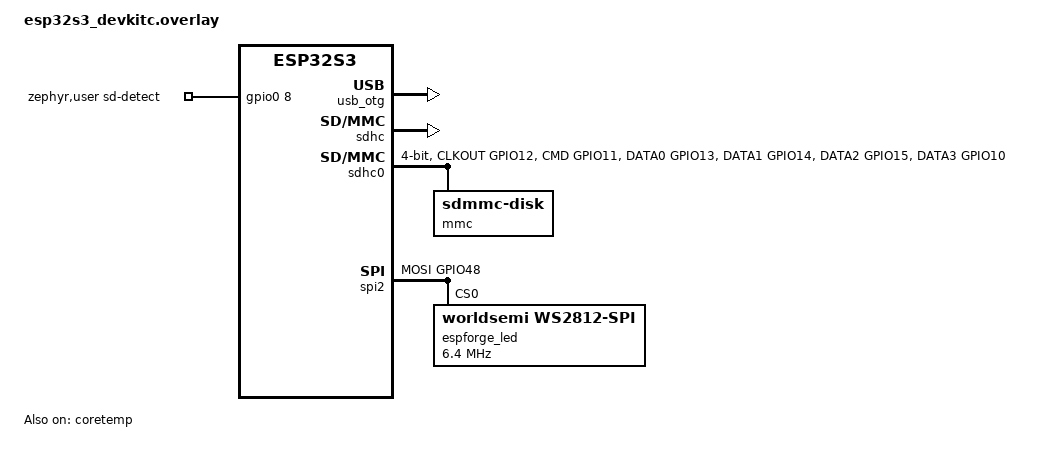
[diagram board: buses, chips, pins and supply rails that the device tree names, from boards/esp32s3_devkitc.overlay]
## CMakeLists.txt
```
cmake_minimum_required(VERSION 3.20.0)
find_package(Zephyr REQUIRED HINTS $ENV{ZEPHYR_BASE})
project(espforge)
target_compile_definitions(app PRIVATE EF_STORAGE_SPI=$<BOOL:${CONFIG_SPI_SDHC}>)
option(EF_ENABLE_STORAGE_BENCHMARK "Include temporary-file verification and throughput measurement" OFF)
target_compile_definitions(app PRIVATE EF_ENABLE_STORAGE_BENCHMARK=$<BOOL:${EF_ENABLE_STORAGE_BENCHMARK}>)
if(EF_ENABLE_STORAGE_BENCHMARK)
  target_sources(app PRIVATE src/app/storage/benchmark.c)
endif()
target_sources(app PRIVATE
  src/main.c
  src/config/board.c
  src/platform/boot_config.c
  src/platform/boot_flash.c
  src/platform/system_clock.c
  src/app/telemetry.c
  src/app/control/control.c
  src/app/storage/storage.c
  src/platform/storage.c
  src/platform/led.c
  src/app/usb/hid_reports.c
  src/app/usb/usb_hid.c
  src/app/wireless/sha256.c
  src/app/wireless/wireless_auth.c
  src/app/wireless/wireless_stage.c
  src/app/wireless/bluetooth/ble.c
  src/app/wireless/wifi/wifi.c)
target_include_directories(app PRIVATE src)
# The pinned ESP32-S3 HAL leaves the PHY library's weak sensor-power hooks linked. They power the die-temperature
# sensor off during Wi-Fi modem sleep, and the next telemetry read then spins with interrupts locked. The HAL
# override reference-counts that power instead.
if(CONFIG_ESP32_TEMP)
  target_sources(app PRIVATE ${ZEPHYR_HAL_ESPRESSIF_MODULE_DIR}/components/esp_phy/src/phy_override.c)
endif()
if(DEFINED ENV{ESPFORGE_VERSION} AND NOT "$ENV{ESPFORGE_VERSION}" STREQUAL "")
  if(NOT "$ENV{ESPFORGE_VERSION}" MATCHES "^(0|[1-9][0-9]*)\\.(0|[1-9][0-9]*)\\.(0|[1-9][0-9]*)$")
    message(FATAL_ERROR "ESPFORGE_VERSION must be MAJOR.MINOR.PATCH with no leading zeros")
  endif()
  target_compile_definitions(app PRIVATE "ESPFORGE_VERSION=\"$ENV{ESPFORGE_VERSION}\"")
endif()
```

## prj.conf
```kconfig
# Diagnostics on the DevKitC UART connector; dashboard management is USB HID or BLE.
CONFIG_SERIAL=y
CONFIG_CONSOLE=y
CONFIG_UART_CONSOLE=y
CONFIG_PRINTK=y
CONFIG_LOG=y
CONFIG_LOG_MODE_MINIMAL=y

# Native diagnostic shells. TCP is unauthenticated plaintext for trusted networks only.
CONFIG_SHELL=y
CONFIG_SHELL_BACKEND_SERIAL=y
CONFIG_SHELL_PROMPT_UART="ESPForge> "
CONFIG_SHELL_BACKEND_TELNET=y
CONFIG_SHELL_PROMPT_TELNET="ESPForge> "
CONFIG_SHELL_TELNET_PORT=2323
CONFIG_SHELL_TELNET_SUPPORT_COMMAND=n
CONFIG_SHELL_TELNET_INIT_LOG_LEVEL_NONE=y
CONFIG_SHELL_LOG_BACKEND=n
CONFIG_SHELL_HISTORY=n
CONFIG_DEVICE_SHELL_INIT_CMD=n
CONFIG_DATE_SHELL=n
CONFIG_DEVMEM_SHELL=n
# The kernel shell includes unguarded reboot and thread-control commands.
CONFIG_KERNEL_SHELL=n
CONFIG_FILE_SYSTEM_SHELL=n
CONFIG_FLASH_SHELL=n
CONFIG_NET_SHELL=n
CONFIG_NET_L2_WIFI_SHELL=n
CONFIG_BT_SHELL=n

CONFIG_MAIN_STACK_SIZE=6144
CONFIG_SYSTEM_WORKQUEUE_STACK_SIZE=4096
CONFIG_HEAP_MEM_POOL_SIZE=73728
CONFIG_FLASH=y
CONFIG_FLASH_MAP=y

# N16R8 module: 16 MB quad flash (DIO at 80 MHz) and 8 MB octal PSRAM, checked at boot.
CONFIG_ESPTOOLPY_FLASHSIZE_16MB=y
CONFIG_ESP_SPIRAM=y
CONFIG_SPIRAM_MODE_OCT=y
CONFIG_ESP_SPIRAM_MEMTEST=y
CONFIG_CLOCK_CONTROL=y
CONFIG_REBOOT=y
CONFIG_HWINFO=y
CONFIG_ENTROPY_GENERATOR=y
CONFIG_SENSOR=y
CONFIG_THREAD_RUNTIME_STATS=y
CONFIG_SCHED_THREAD_USAGE_ALL=y

# Native USB OTG: vendor HID and removable-media MSC, without CDC.
CONFIG_USB_DEVICE_STACK_NEXT=y
CONFIG_USBD_HID_SUPPORT=y
CONFIG_USBD_MSC_CLASS=y
CONFIG_USBD_MSC_STACK_SIZE=4096
CONFIG_USBD_THREAD_STACK_SIZE=4096
CONFIG_USBD_LOG_LEVEL_WRN=y
CONFIG_UDC_DRIVER_LOG_LEVEL_WRN=y

CONFIG_NETWORKING=y
CONFIG_WIFI=y
CONFIG_ESP32_SW_COEXIST_ENABLE=y
CONFIG_NET_IPV4=y
CONFIG_NET_IPV6=n
CONFIG_NET_TCP=y
CONFIG_NET_DHCPV4=y
CONFIG_NET_MGMT=y
CONFIG_NET_MGMT_EVENT=y
CONFIG_NET_MGMT_EVENT_INFO=y
CONFIG_NET_MGMT_EVENT_QUEUE_SIZE=16
CONFIG_NET_MGMT_EVENT_QUEUE_TIMEOUT=5000
CONFIG_NET_PKT_RX_COUNT=10
CONFIG_NET_PKT_TX_COUNT=10
CONFIG_NET_BUF_RX_COUNT=20
CONFIG_NET_BUF_TX_COUNT=20
CONFIG_NET_RX_STACK_SIZE=2048
CONFIG_NET_TX_STACK_SIZE=2048

CONFIG_BT=y
CONFIG_BT_PERIPHERAL=y
CONFIG_BT_MAX_CONN=1
CONFIG_BT_DEVICE_NAME="ESPForge"
CONFIG_BT_DEVICE_NAME_DYNAMIC=y
CONFIG_BT_DEVICE_NAME_MAX=25
CONFIG_BT_DEVICE_APPEARANCE=0
CONFIG_BT_GATT_SERVICE_CHANGED=y
CONFIG_BT_GATT_CACHING=y
CONFIG_BT_RX_STACK_SIZE=4096

CONFIG_GPIO=y
CONFIG_LED_STRIP=y
CONFIG_DISK_ACCESS=y
CONFIG_DISK_DRIVER_SDMMC=y
CONFIG_SDHC=y
CONFIG_FILE_SYSTEM=y
CONFIG_FAT_FILESYSTEM_ELM=y
CONFIG_FS_FATFS_MOUNT_MKFS=n
CONFIG_FS_FATFS_MKFS=n
```

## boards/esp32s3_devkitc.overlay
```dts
#include <zephyr/dt-bindings/gpio/gpio.h>
#include <zephyr/dt-bindings/pinctrl/esp32s3-pinctrl.h>
#include <zephyr/dt-bindings/led/led.h>

/ {
	aliases {
		espforge-sd = &sdhc0;
	};
	zephyr,user {
		sd-detect-gpios = <&gpio0 8 (GPIO_ACTIVE_HIGH | GPIO_PULL_DOWN)>;
	};
};

/*
 * ESP32-S3-DevKitC-1 N16R8 (ESP32-S3-WROOM-1-N16R8): 16 MB quad flash and 8 MB octal PSRAM.
 * The upstream board DTS describes the N8 module with the 4 MB partition table, so replace both.
 */
&flash0 {
	reg = <0x0 DT_SIZE_M(16)>;
	/delete-node/ partitions;
};

#include <espressif/partitions_0x0_amp_16M.dtsi>

&psram0 {
	size = <DT_SIZE_M(8)>;
};

/* Native USB OTG on the DevKitC USB connector (GPIO19 D-, GPIO20 D+). */
&usb_otg {
	status = "okay";
	espforge_hid: hid_dev_0 {
		compatible = "zephyr,hid-device";
		label = "ESPForge";
		protocol-code = "none";
		in-report-size = <64>;
		in-polling-period-us = <4000>;
	};
};

&coretemp {
	status = "okay";
};

&pinctrl {
	espforge_led_default: espforge_led_default {
		mosi {
			pinmux = <SPIM2_MOSI_GPIO48>;
			bias-pull-down;
		};
	};
	espforge_sd_default: espforge_sd_default {
		clock {
			pinmux = <SDHC0_CLKOUT_GPIO12>;
		};
		command_data {
			pinmux = <SDHC0_CMD_GPIO11>, <SDHC0_DATA0_GPIO13>,
				 <SDHC0_DATA1_GPIO14>, <SDHC0_DATA2_GPIO15>, <SDHC0_DATA3_GPIO10>;
			bias-pull-up;
		};
	};
};

&sdhc {
	status = "okay";
};

espforge_sd: &sdhc0 {
	status = "okay";
	pinctrl-0 = <&espforge_sd_default>;
	pinctrl-names = "default";
	bus-width = <4>;
	max-bus-freq = <25000000>;
	mmc {
		compatible = "zephyr,sdmmc-disk";
		disk-name = "SD";
		status = "okay";
	};
};

&spi2 {
	status = "okay";
	line-idle-low;
	pinctrl-0 = <&espforge_led_default>;
	pinctrl-names = "default";
	espforge_led: led-strip@0 {
		compatible = "worldsemi,ws2812-spi";
		reg = <0>;
		spi-max-frequency = <6400000>;
		spi-zero-frame = <0xc0>;
		spi-one-frame = <0xf0>;
		chain-length = <1>;
		color-mapping = <LED_COLOR_ID_GREEN LED_COLOR_ID_RED LED_COLOR_ID_BLUE>;
		reset-delay = <350>;
	};
};

/* SPI3's default pins overlap the module's internal flash/PSRAM signals (octal PSRAM uses GPIO33-37). */
&spi3 {
	status = "disabled";
};
```

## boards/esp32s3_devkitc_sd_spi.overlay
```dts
#include "esp32s3_devkitc.overlay"

/ {
	aliases {
		espforge-sd = &espforge_sd_spi;
	};
};

&sdhc {
	status = "disabled";
};

&sdhc0 {
	status = "disabled";
	mmc {
		status = "disabled";
	};
};

&pinctrl {
	espforge_sd_spi_default: espforge_sd_spi_default {
		clock {
			pinmux = <SPIM3_SCLK_GPIO12>;
		};
		data {
			pinmux = <SPIM3_MOSI_GPIO11>, <SPIM3_MISO_GPIO13>;
			bias-pull-up;
		};
	};
};

/* Override all default SPI3 pins to avoid the module's internal flash/PSRAM signals. */
&spi3 {
	status = "okay";
	pinctrl-0 = <&espforge_sd_spi_default>;
	pinctrl-names = "default";
	cs-gpios = <&gpio0 10 GPIO_ACTIVE_LOW>;
	espforge_sd_spi: sdhc@0 {
		compatible = "zephyr,sdhc-spi-slot";
		reg = <0>;
		spi-max-frequency = <25000000>;
		mmc {
			compatible = "zephyr,sdmmc-disk";
			disk-name = "SD";
			status = "okay";
		};
	};
};
```

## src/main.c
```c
#include "app/espforge.h"
#include "platform/boot_config.h"
#include "app/control/control.h"
#include "platform/ef_platform.h"

#include <zephyr/kernel.h>
#include <zephyr/sys/printk.h>

#define POLL_PERIOD_MS 20

int main(void)
{
	uint8_t radios;
	int err;

	ef_board_init();
	ef_lock();
	ef_boot_config_load();
	ef_control_init();
	radios = ef_boot_config_boot_radios();
	ef_unlock();
	printk("ESPForge %s (%s)\n", ESPFORGE_VERSION, ef_board_serial());

	err = system_clock_apply(ef_sysclk_profile_mhz(ef_boot_config_boot_sysclk()));
	if (err) {
		printk("CPU clock change failed: %d\n", err);
	}
	ef_telemetry_init();
	ef_platform_led_init();
	ef_storage_init();
	ef_wifi_init((radios & EF_WIRELESS_WIFI) != 0);
	ef_ble_init((radios & EF_WIRELESS_BLE) != 0);
	if (ef_usb_init() != 0) {
		printk("USB HID unavailable\n");
	}

	while (true) {
		ef_lock();
		ef_control_tick(k_uptime_get());
		ef_unlock();
		ef_wifi_poll();
		ef_telemetry_poll();
		ef_usb_poll();
		k_sleep(K_MSEC(POLL_PERIOD_MS));
	}
	return 0;
}
```

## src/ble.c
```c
/*
 * Bluetooth LE peripheral: report mirrors, session unlock, command proofs and the 9-byte control characteristic
 * (docs/reference/bluetooth.md with the docs/reference/espforge-profile.md adaptations).
 */
#include "espforge.h"
#include "boot_config.h"
#include "control.h"
#include "wireless_auth.h"

#include <stdio.h>
#include <string.h>
#include <zephyr/bluetooth/bluetooth.h>
#include <zephyr/bluetooth/conn.h>
#include <zephyr/bluetooth/gatt.h>
#include <zephyr/bluetooth/uuid.h>
#include <zephyr/kernel.h>
#include <zephyr/logging/log.h>
#include <zephyr/random/random.h>

LOG_MODULE_REGISTER(ef_ble, LOG_LEVEL_INF);

#define FAST_INTERVAL 96   /* 60 ms */
#define SLOW_INTERVAL 800  /* 500 ms */
#define FAST_PERIOD_MS 30000

#define CHR_IDENTITY 0x0001u
#define CHR_CONFIG 0x0002u
#define CHR_TELEMETRY 0x0003u
#define CHR_STORAGE 0x000Au
#define CHR_BENCHMARK 0x000Bu
#define CHR_WIRELESS 0x000Cu
#define CHR_CONTROL 0x0014u
#define CHR_NONCE 0x0100u
#define CHR_PROOF 0x0101u

#define EF_UUID(suffix) BT_UUID_128_ENCODE(0xef5c0000u | (suffix), 0x7c91, 0x4d70, 0x8b32, 0x6e856443f502)
#define EF_UUID_DECLARE(suffix) BT_UUID_DECLARE_128(EF_UUID(suffix))

#define NAME_SIZE (sizeof("ESPForge-") - 1 + 2 * EF_UID_SIZE)
#define SNAPSHOT_SIZE EF_WIRELESS_SIZE

static atomic_t state = ATOMIC_INIT(EF_BLE_OFF);
static bool failed;
static bool slow;
static struct bt_conn *current;
static char name[NAME_SIZE + 1];
static char firmware_revision[] = ESPFORGE_VERSION;

/* Session state for the single connection; guarded by ef_lock(). */
static ef_auth_session_t session;
static const struct bt_gatt_attr *snapshot_attr;
static uint8_t snapshot[SNAPSHOT_SIZE];
static uint16_t snapshot_length;
static uint8_t sequence;

static const struct bt_data advertising[] = {
	BT_DATA_BYTES(BT_DATA_FLAGS, BT_LE_AD_GENERAL | BT_LE_AD_NO_BREDR),
	BT_DATA_BYTES(BT_DATA_UUID128_ALL, EF_UUID(0x0000u)),
};

static struct bt_data scan_response[] = {
	BT_DATA(BT_DATA_NAME_COMPLETE, name, NAME_SIZE),
};

static void slow_down(struct k_work *work);
K_WORK_DELAYABLE_DEFINE(slow_work, slow_down);

static int advertise(bool fast)
{
	uint16_t interval = fast ? FAST_INTERVAL : SLOW_INTERVAL;
	struct bt_le_adv_param param = BT_LE_ADV_PARAM_INIT(BT_LE_ADV_OPT_CONN, interval, interval, NULL);
	int err = bt_le_adv_start(&param, advertising, ARRAY_SIZE(advertising), scan_response,
				  ARRAY_SIZE(scan_response));

	if (err == 0) {
		atomic_set(&state, EF_BLE_ADVERTISING);
		slow = !fast;
		if (fast) {
			(void)k_work_reschedule(&slow_work, K_MSEC(FAST_PERIOD_MS));
		}
	} else {
		LOG_ERR("Advertising failed: %d", err);
	}
	return err;
}

static void slow_down(struct k_work *work)
{
	ARG_UNUSED(work);
	if (atomic_get(&state) == EF_BLE_ADVERTISING && !slow && bt_le_adv_stop() == 0) {
		(void)advertise(false);
	}
}

static void connected(struct bt_conn *conn, uint8_t err)
{
	if (err != 0) {
		return;
	}
	(void)k_work_cancel_delayable(&slow_work);
	ef_lock();
	current = bt_conn_ref(conn);
	ef_auth_session_reset(&session);
	snapshot_attr = NULL;
	ef_unlock();
	atomic_set(&state, EF_BLE_CONNECTED);
	LOG_INF("Central connected");
}

static void disconnected(struct bt_conn *conn, uint8_t reason)
{
	ef_lock();
	if (current == conn) {
		bt_conn_unref(current);
		current = NULL;
	}
	ef_auth_session_reset(&session);
	snapshot_attr = NULL;
	ef_unlock();
	atomic_set(&state, EF_BLE_OFF);
	LOG_INF("Central disconnected (0x%02x)", reason);
}

/* The connection object is free again, so connectable advertising can restart. */
static void recycled(void)
{
	if (atomic_get(&state) == EF_BLE_OFF && !failed && name[0] != '\0') {
		(void)advertise(true);
	}
}

BT_CONN_CB_DEFINE(conn_callbacks) = {
	.connected = connected,
	.disconnected = disconnected,
	.recycled = recycled,
};

static uint16_t build(uint16_t chr, uint8_t *out)
{
	switch (chr) {
	case CHR_IDENTITY:
		ef_identity_report(out);
		return EF_IDENTITY_SIZE;
	case CHR_CONFIG:
		ef_config_report(out);
		return EF_CONFIG_SIZE;
	case CHR_TELEMETRY:
		ef_telemetry_report(++sequence, out);
		return EF_TELEMETRY_SIZE;
	case CHR_STORAGE:
		ef_storage_report(++sequence, out);
		return EF_STORAGE_SIZE;
	case CHR_BENCHMARK:
		/* No benchmark: the value is empty, but the read still advances the BLE sequence. */
		++sequence;
		return 0;
	case CHR_WIRELESS:
		ef_wireless_report(out);
		return EF_WIRELESS_SIZE;
	case CHR_CONTROL:
		ef_control_ble_get(out);
		return EF_BLE_CONTROL_SIZE;
	case CHR_NONCE:
		if (sys_csrand_get(out, EF_AUTH_NONCE_SIZE) != 0) {
			return 0;
		}
		ef_auth_set_nonce(&session, out);
		return EF_AUTH_NONCE_SIZE;
	default:
		return 0;
	}
}

static bool open_while_locked(uint16_t chr)
{
	return chr == CHR_IDENTITY || chr == CHR_NONCE;
}

static ssize_t read_report(struct bt_conn *conn, const struct bt_gatt_attr *attr, void *buf, uint16_t len,
			   uint16_t offset)
{
	uint16_t chr = (uint16_t)POINTER_TO_UINT(attr->user_data);
	ssize_t result;

	ARG_UNUSED(conn);
	ef_lock();
	if (!session.unlocked && !open_while_locked(chr)) {
		result = BT_GATT_ERR(EF_ATT_ERR_REJECTED);
	} else if (offset == 0) {
		snapshot_length = build(chr, snapshot);
		snapshot_attr = attr;
		result = MIN(len, snapshot_length);
		memcpy(buf, snapshot, result);
	} else if (snapshot_attr != attr || offset > snapshot_length) {
		result = BT_GATT_ERR(EF_ATT_ERR_INVALID_OFFSET);
	} else {
		result = MIN(len, snapshot_length - offset);
		memcpy(buf, snapshot + offset, result);
	}
	ef_unlock();
	return result;
}

static ssize_t write_proof(struct bt_conn *conn, const struct bt_gatt_attr *attr, const void *buf, uint16_t len,
			   uint16_t offset, uint8_t flags)
{
	uint8_t err;

	ARG_UNUSED(conn);
	ARG_UNUSED(attr);
	if (offset != 0 || (flags & (BT_GATT_WRITE_FLAG_PREPARE | BT_GATT_WRITE_FLAG_CMD))) {
		return BT_GATT_ERR(BT_ATT_ERR_NOT_SUPPORTED);
	}
	ef_lock();
	err = ef_auth_write_proof(&session, buf, len, k_uptime_get());
	ef_unlock();
	return err ? BT_GATT_ERR(err) : len;
}

static ssize_t write_control(struct bt_conn *conn, const struct bt_gatt_attr *attr, const void *buf, uint16_t len,
			     uint16_t offset, uint8_t flags)
{
	const uint8_t *request = buf;
	int64_t now = k_uptime_get();
	ssize_t result = len;

	ARG_UNUSED(conn);
	ARG_UNUSED(attr);
	if (offset != 0 || (flags & (BT_GATT_WRITE_FLAG_PREPARE | BT_GATT_WRITE_FLAG_CMD))) {
		return BT_GATT_ERR(BT_ATT_ERR_NOT_SUPPORTED);
	}
	ef_lock();
	if (!session.unlocked) {
		result = BT_GATT_ERR(EF_ATT_ERR_REJECTED);
	} else if (!ef_control_ble_envelope(request, len)) {
		result = BT_GATT_ERR(EF_ATT_ERR_ENVELOPE);
	} else {
		uint8_t err = request[2] == EF_OP_LED ? 0 : ef_auth_authorize(&session, request, len, now);

		if (err) {
			result = BT_GATT_ERR(err);
		} else {
			ef_control_ble_execute(request, now);
		}
	}
	ef_unlock();
	return result;
}

static ssize_t read_text(struct bt_conn *conn, const struct bt_gatt_attr *attr, void *buf, uint16_t len,
			 uint16_t offset)
{
	const char *text = attr->user_data;

	return bt_gatt_attr_read(conn, attr, buf, len, offset, text, strlen(text));
}

#define REPORT_CHR(suffix)                                                                                    \
	BT_GATT_CHARACTERISTIC(EF_UUID_DECLARE(suffix), BT_GATT_CHRC_READ, BT_GATT_PERM_READ, read_report, NULL,     \
			       UINT_TO_POINTER(suffix))

BT_GATT_SERVICE_DEFINE(espforge_service,
	BT_GATT_PRIMARY_SERVICE(EF_UUID_DECLARE(0x0000u)),
	REPORT_CHR(CHR_IDENTITY),
	REPORT_CHR(CHR_CONFIG),
	REPORT_CHR(CHR_TELEMETRY),
	REPORT_CHR(CHR_STORAGE),
	REPORT_CHR(CHR_BENCHMARK),
	REPORT_CHR(CHR_WIRELESS),
	BT_GATT_CHARACTERISTIC(EF_UUID_DECLARE(CHR_CONTROL), BT_GATT_CHRC_READ | BT_GATT_CHRC_WRITE,
			       BT_GATT_PERM_READ | BT_GATT_PERM_WRITE, read_report, write_control,
			       UINT_TO_POINTER(CHR_CONTROL)),
	REPORT_CHR(CHR_NONCE),
	BT_GATT_CHARACTERISTIC(EF_UUID_DECLARE(CHR_PROOF), BT_GATT_CHRC_WRITE, BT_GATT_PERM_WRITE, NULL, write_proof,
			       NULL));

BT_GATT_SERVICE_DEFINE(device_information,
	BT_GATT_PRIMARY_SERVICE(BT_UUID_DIS),
	BT_GATT_CHARACTERISTIC(BT_UUID_DIS_MANUFACTURER_NAME, BT_GATT_CHRC_READ, BT_GATT_PERM_READ, read_text, NULL,
			       "ESPForge"),
	BT_GATT_CHARACTERISTIC(BT_UUID_DIS_FIRMWARE_REVISION, BT_GATT_CHRC_READ, BT_GATT_PERM_READ, read_text, NULL,
			       firmware_revision));

void ef_ble_init(bool enabled)
{
	uint8_t key[EF_BLE_KEY_SIZE];
	int err;

	if (!enabled) {
		return;
	}
	ef_lock();
	if (!ef_boot_config_ble_key_configured()) {
		ef_unlock();
		LOG_WRN("Bluetooth is enabled but no Control key is saved; Bluetooth stays off");
		return;
	}
	ef_boot_config_ble_key(key);
	ef_auth_init(key, ef_board_uid());
	memset(key, 0, sizeof(key));
	ef_auth_session_reset(&session);
	ef_unlock();

	err = bt_enable(NULL);
	if (err == 0) {
		(void)snprintf(name, sizeof(name), "ESPForge-%s", ef_board_serial());
		err = bt_set_name(name);
	}
	if (err == 0) {
		err = advertise(true);
	}
	if (err != 0) {
		failed = true;
		LOG_ERR("Bluetooth start failed: %d", err);
	}
}

uint8_t ef_ble_state(void)
{
	return (uint8_t)atomic_get(&state);
}

bool ef_ble_failed(void)
{
	return failed;
}
```

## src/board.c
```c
#include "espforge.h"
#include "boot_config.h"
#include "ef_platform.h"

#include <errno.h>
#include <stdlib.h>
#include <string.h>
#include <zephyr/drivers/hwinfo.h>
#include <zephyr/kernel.h>
#include <zephyr/linker/linker-defs.h>
#include <zephyr/sys/reboot.h>

#define RAM_TOTAL_BYTES (512u * 1024u)

K_MUTEX_DEFINE(app_lock);

static uint8_t uid[EF_UID_SIZE];
static char serial[2 * EF_UID_SIZE + 1];
static uint8_t reset_cause;

void ef_lock(void)
{
	(void)k_mutex_lock(&app_lock, K_FOREVER);
}

void ef_unlock(void)
{
	(void)k_mutex_unlock(&app_lock);
}

void ef_board_init(void)
{
	uint32_t cause = 0;
	ssize_t length = hwinfo_get_device_id(uid, 6);

	if (length < 0) {
		memset(uid, 0, sizeof(uid));
	}
	ef_uid_hex(uid, serial);
	if (hwinfo_get_reset_cause(&cause) == 0) {
		reset_cause = ef_reset_cause(cause);
		(void)hwinfo_clear_reset_cause();
	}
}

const uint8_t *ef_board_uid(void)
{
	return uid;
}

const char *ef_board_serial(void)
{
	return serial;
}

static void parse_version(uint8_t out[3])
{
	const char *text = ESPFORGE_VERSION;

	for (int i = 0; i < 3; ++i) {
		char *end;
		unsigned long part = strtoul(text, &end, 10);

		out[i] = part > 255 ? 255 : (uint8_t)part;
		text = *end == '.' ? end + 1 : end;
	}
}

void ef_identity_report(uint8_t out[EF_IDENTITY_SIZE])
{
	ef_identity_t identity = {
		.ram_total_bytes = RAM_TOTAL_BYTES,
		.ram_reserved_bytes = (uint32_t)((uintptr_t)_image_ram_end - (uintptr_t)_image_ram_start),
	};

	memcpy(identity.uid, uid, sizeof(uid));
	parse_version(identity.firmware);
	ef_report_identity(&identity, out);
}

void ef_config_report(uint8_t out[EF_CONFIG_SIZE])
{
	ef_config_t config = {.reset_cause = reset_cause};

	ef_lock();
	config.stored_clock_mhz = ef_sysclk_profile_mhz(ef_boot_config_sysclk());
	config.stored_radios = ef_boot_config_radios();
	ef_unlock();
	ef_report_config(&config, out);
}

static void reboot_handler(struct k_work *work)
{
	ARG_UNUSED(work);
	sys_reboot(SYS_REBOOT_COLD);
}

K_WORK_DELAYABLE_DEFINE(reboot_work, reboot_handler);

int ef_platform_schedule_reboot(void)
{
	return k_work_reschedule(&reboot_work, K_MSEC(EF_REBOOT_DELAY_MS)) < 0 ? -EIO : 0;
}
```

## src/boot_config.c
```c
#include "boot_config.h"
#include "boot_flash.h"

#include <errno.h>
#include <string.h>

#define RECORD_MAGIC 0x46434645u /* "EFCF" little-endian */
#define RECORD_VERSION 1u
#define CRC_OFFSET 144u
#define SERVICE_BITS (EF_WIRELESS_WIFI | EF_WIRELESS_BLE)
#define KEY_PRESENT 1u

struct boot_config {
	uint8_t sysclk;
	uint8_t disabled;
	uint8_t auth;
	uint8_t ssid_length;
	uint8_t ssid[32];
	char password[EF_WIFI_PASSWORD_SIZE];
	uint8_t key[EF_BLE_KEY_SIZE];
	uint8_t flags;
};

/* Zero is the default for every field: all radios allowed, build clock, no credentials. */
static struct boot_config staged;
static struct boot_config saved;
static struct boot_config boot;
static ef_boot_config_source_t source;

uint32_t ef_boot_config_crc32(const uint8_t *data, size_t size)
{
	uint32_t crc = 0xFFFFFFFFu;

	for (size_t i = 0; i < size; ++i) {
		crc ^= data[i];
		for (int bit = 0; bit < 8; ++bit) {
			crc = (crc >> 1) ^ (0xEDB88320u & (0u - (crc & 1u)));
		}
	}
	return ~crc;
}

static void put_u16(uint8_t *out, uint16_t value)
{
	out[0] = (uint8_t)value;
	out[1] = (uint8_t)(value >> 8);
}

static void put_u32(uint8_t *out, uint32_t value)
{
	put_u16(out, (uint16_t)value);
	put_u16(out + 2, (uint16_t)(value >> 16));
}

static uint32_t get_u32(const uint8_t *in)
{
	return (uint32_t)in[0] | (uint32_t)in[1] << 8 | (uint32_t)in[2] << 16 | (uint32_t)in[3] << 24;
}

static bool zero(const uint8_t *data, size_t size)
{
	while (size--) {
		if (*data++) {
			return false;
		}
	}
	return true;
}

static bool password_valid(const char *password, size_t capacity)
{
	size_t length = 0;

	while (length < capacity && password[length]) {
		++length;
	}
	return length < capacity && (length == 0 || (length >= 8 && length <= 63));
}

static void encode(const struct boot_config *config, uint8_t record[EF_BOOT_CONFIG_RECORD_SIZE])
{
	memset(record, 0, EF_BOOT_CONFIG_RECORD_SIZE);
	put_u32(record, RECORD_MAGIC);
	put_u16(record + 4, RECORD_VERSION);
	put_u16(record + 6, EF_BOOT_CONFIG_RECORD_SIZE);
	record[8] = config->sysclk;
	record[10] = config->disabled;
	record[11] = config->auth;
	record[12] = config->ssid_length;
	memcpy(record + 13, config->ssid, sizeof(config->ssid));
	memcpy(record + 45, config->password, sizeof(config->password));
	memcpy(record + 109, config->key, sizeof(config->key));
	record[141] = config->flags;
	put_u32(record + CRC_OFFSET, ef_boot_config_crc32(record, CRC_OFFSET));
}

static bool decode(const uint8_t record[EF_BOOT_CONFIG_RECORD_SIZE], struct boot_config *config)
{
	const char *password = (const char *)record + 45;
	size_t password_length;

	if (get_u32(record) != RECORD_MAGIC || record[4] != RECORD_VERSION || record[5] != 0 ||
	    record[6] != EF_BOOT_CONFIG_RECORD_SIZE || record[7] != 0 ||
	    get_u32(record + CRC_OFFSET) != ef_boot_config_crc32(record, CRC_OFFSET)) {
		return false;
	}
	if (record[8] > EF_SYSCLK_240MHZ || record[9] != 0 || (record[10] & ~SERVICE_BITS) ||
	    record[11] > EF_WIFI_AUTH_SAE || record[12] > 32 || !zero(record + 13 + record[12], 32 - record[12]) ||
	    !password_valid(password, EF_WIFI_PASSWORD_SIZE) || (record[141] & ~KEY_PRESENT) ||
	    (!(record[141] & KEY_PRESENT) && !zero(record + 109, EF_BLE_KEY_SIZE)) || record[142] || record[143]) {
		return false;
	}
	password_length = strlen(password);
	if (!zero(record + 45 + password_length, EF_WIFI_PASSWORD_SIZE - password_length)) {
		return false;
	}
	memset(config, 0, sizeof(*config));
	config->sysclk = record[8];
	config->disabled = record[10];
	config->auth = record[11];
	config->ssid_length = record[12];
	memcpy(config->ssid, record + 13, sizeof(config->ssid));
	memcpy(config->password, password, sizeof(config->password));
	memcpy(config->key, record + 109, sizeof(config->key));
	config->flags = record[141];
	return true;
}

void ef_boot_config_load(void)
{
	uint8_t record[EF_BOOT_CONFIG_RECORD_SIZE];
	struct boot_config loaded = {0};

	if (boot_flash_read(record, sizeof(record)) != 0) {
		source = EF_BOOT_CONFIG_READ_ERROR;
	} else if (decode(record, &loaded)) {
		source = EF_BOOT_CONFIG_SAVED;
	} else {
		memset(&loaded, 0, sizeof(loaded));
		source = EF_BOOT_CONFIG_DEFAULTS;
	}
	saved = loaded;
	staged = loaded;
	boot = loaded;
	memset(record, 0, sizeof(record));
	memset(&loaded, 0, sizeof(loaded));
}

ef_boot_config_source_t ef_boot_config_source(void)
{
	return source;
}

ef_sysclk_profile_t ef_boot_config_sysclk(void)
{
	return (ef_sysclk_profile_t)staged.sysclk;
}

bool ef_boot_config_set_sysclk(ef_sysclk_profile_t profile)
{
	if ((unsigned)profile > EF_SYSCLK_240MHZ) {
		return false;
	}
	staged.sysclk = (uint8_t)profile;
	return true;
}

ef_sysclk_profile_t ef_boot_config_boot_sysclk(void)
{
	return (ef_sysclk_profile_t)boot.sysclk;
}

uint8_t ef_boot_config_radios(void)
{
	return (uint8_t)(~staged.disabled & SERVICE_BITS);
}

bool ef_boot_config_set_radios(uint8_t radios)
{
	if (radios & ~SERVICE_BITS) {
		return false;
	}
	staged.disabled = (uint8_t)(~radios & SERVICE_BITS);
	return true;
}

uint8_t ef_boot_config_boot_radios(void)
{
	return (uint8_t)(~boot.disabled & SERVICE_BITS);
}

void ef_boot_config_wifi_ssid(char ssid[EF_WIFI_SSID_SIZE])
{
	memcpy(ssid, staged.ssid, sizeof(staged.ssid));
	ssid[EF_WIFI_SSID_SIZE - 1] = '\0';
}

bool ef_boot_config_set_wifi_ssid(const char *ssid)
{
	if (!ssid) {
		return false;
	}
	size_t length = 0;

	while (length < EF_WIFI_SSID_SIZE && ssid[length]) {
		++length;
	}
	return length < EF_WIFI_SSID_SIZE && ef_boot_config_set_wifi_ssid_bytes((const uint8_t *)ssid, (uint8_t)length);
}

uint8_t ef_boot_config_wifi_ssid_bytes(uint8_t ssid[32])
{
	memcpy(ssid, staged.ssid, sizeof(staged.ssid));
	return staged.ssid_length;
}

bool ef_boot_config_set_wifi_ssid_bytes(const uint8_t *ssid, uint8_t length)
{
	if (length > sizeof(staged.ssid) || (!ssid && length)) {
		return false;
	}
	memset(staged.ssid, 0, sizeof(staged.ssid));
	if (length) {
		memcpy(staged.ssid, ssid, length);
	}
	staged.ssid_length = length;
	return true;
}

void ef_boot_config_wifi_password(char password[EF_WIFI_PASSWORD_SIZE])
{
	memcpy(password, staged.password, sizeof(staged.password));
}

bool ef_boot_config_set_wifi_password(const char *password)
{
	if (!password || !password_valid(password, EF_WIFI_PASSWORD_SIZE)) {
		return false;
	}
	memset(staged.password, 0, sizeof(staged.password));
	memcpy(staged.password, password, strlen(password));
	return true;
}

bool ef_boot_config_wifi_password_configured(void)
{
	return staged.password[0] != '\0';
}

ef_wifi_auth_state_t ef_boot_config_wifi_auth_state(void)
{
	return (ef_wifi_auth_state_t)staged.auth;
}

bool ef_boot_config_set_wifi_auth_state(ef_wifi_auth_state_t state)
{
	if ((unsigned)state > EF_WIFI_AUTH_SAE) {
		return false;
	}
	staged.auth = (uint8_t)state;
	return true;
}

void ef_boot_config_ble_key(uint8_t key[EF_BLE_KEY_SIZE])
{
	memcpy(key, staged.key, sizeof(staged.key));
}

void ef_boot_config_set_ble_key(const uint8_t key[EF_BLE_KEY_SIZE])
{
	if (key) {
		memcpy(staged.key, key, sizeof(staged.key));
		staged.flags |= KEY_PRESENT;
	} else {
		memset(staged.key, 0, sizeof(staged.key));
		staged.flags &= (uint8_t)~KEY_PRESENT;
	}
}

bool ef_boot_config_ble_key_configured(void)
{
	return (staged.flags & KEY_PRESENT) != 0;
}

bool ef_boot_config_wireless_restart_required(void)
{
	return saved.disabled != boot.disabled || saved.auth != boot.auth ||
	       saved.ssid_length != boot.ssid_length || memcmp(saved.ssid, boot.ssid, sizeof(saved.ssid)) ||
	       memcmp(saved.password, boot.password, sizeof(saved.password)) || saved.flags != boot.flags ||
	       memcmp(saved.key, boot.key, sizeof(saved.key));
}

bool ef_boot_config_restart_required(void)
{
	return saved.sysclk != boot.sysclk || ef_boot_config_wireless_restart_required();
}

int ef_boot_config_save(void)
{
	uint8_t record[EF_BOOT_CONFIG_RECORD_SIZE];
	int err;

	if (memcmp(&staged, &saved, sizeof(staged)) == 0) {
		return 0;
	}
	encode(&staged, record);
	err = boot_flash_write(record, sizeof(record));
	memset(record, 0, sizeof(record));
	if (err) {
		staged = saved;
		return err < 0 ? err : -EIO;
	}
	saved = staged;
	source = EF_BOOT_CONFIG_SAVED;
	return 0;
}

void ef_boot_config_discard(void)
{
	staged = saved;
}

void ef_boot_config_encode(uint8_t record[EF_BOOT_CONFIG_RECORD_SIZE])
{
	encode(&staged, record);
}
```

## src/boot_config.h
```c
/**
 * @file boot_config.h
 * @brief Boot settings loaded at the start of main(), then owned by the main (management) thread.
 *
 * Adapted from PicoForge's platform/boot_config.h. One CRC-protected record in the `storage_partition` holds the
 * system clock profile, radio switches and credentials. Setters stage values in RAM; ef_boot_config_save() commits
 * them as one unit. Saved values apply at the next boot only.
 *
 * This API is not thread-safe. Call ef_boot_config_load() once before other threads use settings; afterwards all
 * mutations and saves must be serialized in the main thread, which is the single writer of the settings record.
 */

#ifndef ESPFORGE_BOOT_CONFIG_H
#define ESPFORGE_BOOT_CONFIG_H

#include <stdbool.h>
#include <stddef.h>
#include <stdint.h>

/** Wi-Fi radio master-switch bit. */
#define EF_WIRELESS_WIFI 1u
/** BLE radio master-switch bit. */
#define EF_WIRELESS_BLE 2u
/** NUL-terminated SSID storage size, including its terminator. */
#define EF_WIFI_SSID_SIZE 33u
/** NUL-terminated passphrase storage size, including its terminator. */
#define EF_WIFI_PASSWORD_SIZE 64u
/** Control key size in bytes. */
#define EF_BLE_KEY_SIZE 32u
/** Serialized record size in bytes. */
#define EF_BOOT_CONFIG_RECORD_SIZE 148u

/** Saved Wi-Fi authentication state: unknown modes are probed, confirmed modes persist across reboot. */
typedef enum {
	EF_WIFI_AUTH_TRY_WPA2 = 0, /**< Mode unknown; try WPA2 first. */
	EF_WIFI_AUTH_TRY_SAE = 1,  /**< Mode unknown; try WPA3-SAE. */
	EF_WIFI_AUTH_WPA2 = 2,     /**< WPA2 connection was confirmed. */
	EF_WIFI_AUTH_SAE = 3,      /**< WPA3-SAE connection was confirmed. */
} ef_wifi_auth_state_t;

/** User-selected CPU clock profile; flash stores its ID, while host protocols carry MHz. */
typedef enum {
	EF_SYSCLK_DEFAULT = 0, /**< Keep the devicetree/build clock (240 MHz); used when nothing is saved. */
	EF_SYSCLK_80MHZ = 1,   /**< 80 MHz. */
	EF_SYSCLK_160MHZ = 2,  /**< 160 MHz. */
	EF_SYSCLK_240MHZ = 3,  /**< 240 MHz. */
} ef_sysclk_profile_t;

/** Where the RAM copy came from at the last load. */
typedef enum {
	EF_BOOT_CONFIG_NOT_LOADED = 0, /**< ef_boot_config_load() has not run; defaults are in use. */
	EF_BOOT_CONFIG_DEFAULTS = 1,   /**< The record is erased or invalid; defaults are in use. */
	EF_BOOT_CONFIG_SAVED = 2,      /**< A valid saved record was loaded. */
	EF_BOOT_CONFIG_READ_ERROR = 3, /**< Flash could not be read; defaults are in use. */
} ef_boot_config_source_t;

/**
 * @brief Convert a CPU clock profile to MHz.
 * @return 0 (keep the build clock) for EF_SYSCLK_DEFAULT or an unknown profile, otherwise 80, 160 or 240.
 */
static inline uint16_t ef_sysclk_profile_mhz(ef_sysclk_profile_t profile)
{
	static const uint16_t mhz[] = {0u, 80u, 160u, 240u};

	return (unsigned)profile < sizeof(mhz) / sizeof(mhz[0]) ? mhz[profile] : 0u;
}

/**
 * @brief Convert a protocol MHz value to a CPU clock profile.
 * @return The matching profile, or an out-of-range profile rejected by ef_boot_config_set_sysclk().
 */
static inline ef_sysclk_profile_t ef_sysclk_profile_from_mhz(uint16_t mhz)
{
	unsigned profile = EF_SYSCLK_DEFAULT;

	while (profile <= EF_SYSCLK_240MHZ && ef_sysclk_profile_mhz((ef_sysclk_profile_t)profile) != mhz) {
		++profile;
	}
	return (ef_sysclk_profile_t)profile;
}

/**
 * @brief Read and validate the saved record, replacing the RAM copy and the boot snapshot.
 *
 * An erased, invalid or unreadable record loads complete defaults: every radio allowed, the build clock, and no
 * credentials. Boot never depends on flash succeeding.
 */
void ef_boot_config_load(void);
/** @brief Report where the current RAM copy came from. */
ef_boot_config_source_t ef_boot_config_source(void);

/** @brief Return the staged CPU clock profile. */
ef_sysclk_profile_t ef_boot_config_sysclk(void);
/**
 * @brief Stage a CPU clock profile; persist with ef_boot_config_save(), applied at the next boot.
 * @return false (configuration unchanged) for an unknown profile.
 */
bool ef_boot_config_set_sysclk(ef_sysclk_profile_t profile);
/** @brief Return the CPU clock profile loaded at boot, which is the one the running firmware applied. */
ef_sysclk_profile_t ef_boot_config_boot_sysclk(void);

/** @brief Return the staged EF_WIRELESS_* radios allowed to start at boot; both by default. */
uint8_t ef_boot_config_radios(void);
/**
 * @brief Stage the EF_WIRELESS_* radio switches; persist with ef_boot_config_save(), applied at the next boot.
 * @return false (configuration unchanged) for unknown bits.
 */
bool ef_boot_config_set_radios(uint8_t radios);
/** @brief Return the radios loaded at boot, which are the ones the running firmware started. */
uint8_t ef_boot_config_boot_radios(void);

/**
 * @brief Copy the staged SSID into a 33-byte buffer, with a final terminator.
 *
 * Opaque SSIDs may contain embedded zeros; use the byte getter for network identity.
 */
void ef_boot_config_wifi_ssid(char ssid[EF_WIFI_SSID_SIZE]);
/**
 * @brief Stage an SSID string; an empty string clears it.
 * @return false for null or a string longer than 32 bytes.
 */
bool ef_boot_config_set_wifi_ssid(const char *ssid);
/**
 * @brief Copy the staged opaque SSID, zero padded to 32 bytes.
 * @return Saved byte length, including embedded zero bytes.
 */
uint8_t ef_boot_config_wifi_ssid_bytes(uint8_t ssid[32]);
/**
 * @brief Stage an opaque SSID without text conversion.
 * @param ssid Bytes to copy; may be null only when length is zero.
 * @param length Byte length, zero through 32.
 */
bool ef_boot_config_set_wifi_ssid_bytes(const uint8_t *ssid, uint8_t length);
/** @brief Copy the staged private passphrase; never expose it in a host report. */
void ef_boot_config_wifi_password(char password[EF_WIFI_PASSWORD_SIZE]);
/**
 * @brief Stage a passphrase; empty clears it, otherwise it must be 8-63 non-NUL bytes (UTF-8 is accepted).
 * @return false for null or an invalid passphrase.
 */
bool ef_boot_config_set_wifi_password(const char *password);
/** @brief Return whether a Wi-Fi passphrase is staged, without copying it. */
bool ef_boot_config_wifi_password_configured(void);
/** @brief Return the staged Wi-Fi authentication state; erased or invalid settings try WPA2. */
ef_wifi_auth_state_t ef_boot_config_wifi_auth_state(void);
/** @brief Stage the Wi-Fi authentication state; false for an unknown state. */
bool ef_boot_config_set_wifi_auth_state(ef_wifi_auth_state_t state);

/** @brief Copy the staged private BLE Control key; never expose it in a host report. */
void ef_boot_config_ble_key(uint8_t key[EF_BLE_KEY_SIZE]);
/** @brief Stage a raw Control key, including all-zero bytes; null clears it. */
void ef_boot_config_set_ble_key(const uint8_t key[EF_BLE_KEY_SIZE]);
/** @brief Return whether a Control key is staged, independently of its raw byte values. */
bool ef_boot_config_ble_key_configured(void);

/** @brief Report whether saved wireless settings differ from the values loaded at boot. */
bool ef_boot_config_wireless_restart_required(void);
/** @brief Report whether any saved setting differs from the values loaded at boot. */
bool ef_boot_config_restart_required(void);

/**
 * @brief Persist the staged configuration as one record.
 *
 * Clock profile, radio switches and credentials are committed as one unit: an interrupted write loads either the
 * complete new configuration or defaults.
 * @return 0 when unchanged or when the write and readback succeeded, otherwise a negative errno. On failure the
 * staged values are discarded so the RAM copy matches the last confirmed record; callers may re-stage.
 */
int ef_boot_config_save(void);
/** @brief Drop all staged, unsaved values, restoring the last loaded or saved configuration. */
void ef_boot_config_discard(void);

/**
 * @brief Serialize the staged configuration into a record, including its CRC.
 * @param record Output buffer of EF_BOOT_CONFIG_RECORD_SIZE bytes.
 */
void ef_boot_config_encode(uint8_t record[EF_BOOT_CONFIG_RECORD_SIZE]);
/** @brief Return the IEEE CRC-32 (reflected) used by the record. */
uint32_t ef_boot_config_crc32(const uint8_t *data, size_t size);

#endif
```

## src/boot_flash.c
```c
#include "boot_flash.h"

#include <errno.h>
#include <string.h>
#include <zephyr/storage/flash_map.h>

#define SETTINGS_PARTITION storage_partition
#define SETTINGS_SECTOR_SIZE 4096u
#define SETTINGS_PAGE_SIZE 256u

int boot_flash_read(uint8_t *record, size_t size)
{
	const struct flash_area *area;
	int err = flash_area_open(FIXED_PARTITION_ID(SETTINGS_PARTITION), &area);

	if (err) {
		return err;
	}
	err = flash_area_read(area, 0, record, size);
	flash_area_close(area);
	return err;
}

int boot_flash_write(const uint8_t *record, size_t size)
{
	static uint8_t page[SETTINGS_PAGE_SIZE];
	const struct flash_area *area;
	int err;

	if (size > sizeof(page)) {
		return -EINVAL;
	}
	err = flash_area_open(FIXED_PARTITION_ID(SETTINGS_PARTITION), &area);
	if (err) {
		return err;
	}
	memset(page, 0xFF, sizeof(page));
	memcpy(page, record, size);
	err = flash_area_erase(area, 0, SETTINGS_SECTOR_SIZE);
	if (!err) {
		err = flash_area_write(area, 0, page, sizeof(page));
	}
	if (!err) {
		err = flash_area_read(area, 0, page, sizeof(page));
	}
	if (!err && memcmp(page, record, size) != 0) {
		err = -EIO;
	}
	memset(page, 0, sizeof(page));
	flash_area_close(area);
	return err;
}
```

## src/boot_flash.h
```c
/**
 * @file boot_flash.h
 * @brief Settings record backend: the first page of the `storage_partition` flash area.
 */

#ifndef ESPFORGE_BOOT_FLASH_H
#define ESPFORGE_BOOT_FLASH_H

#include <stddef.h>
#include <stdint.h>

/**
 * @brief Read the start of the settings sector.
 * @return 0 on success, otherwise a negative errno.
 */
int boot_flash_read(uint8_t *record, size_t size);

/**
 * @brief Erase the settings sector, program the record and verify it by readback.
 * @return 0 when readback matched, otherwise a negative errno.
 */
int boot_flash_write(const uint8_t *record, size_t size);

#endif
```

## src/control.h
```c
/**
 * @file control.h
 * @brief USB Feature 20 and Bluetooth control dispatcher with separate per-transport result slots.
 *
 * Implements the opcode table, validation order and wireless command rules of docs/reference/usb-hid.md as adapted
 * by docs/reference/espforge-profile.md. Not thread-safe: callers serialize every call with one lock.
 */
#ifndef ESPFORGE_CONTROL_H
#define ESPFORGE_CONTROL_H

#include <stdbool.h>
#include <stddef.h>
#include <stdint.h>

#include "hid_reports.h"

#define EF_STATUS_IDLE 0u
#define EF_STATUS_PENDING 1u
#define EF_STATUS_COMPLETED 2u
#define EF_STATUS_INVALID 3u
#define EF_STATUS_UNSUPPORTED 4u
#define EF_STATUS_BUSY 5u
#define EF_STATUS_FAILED 6u

#define EF_ERROR_NONE 0u
#define EF_ERROR_MALFORMED 1u
#define EF_ERROR_CONFIRMATION 2u
#define EF_ERROR_ARGUMENT 3u
#define EF_ERROR_CAPABILITY 4u
#define EF_ERROR_BUSY 5u
#define EF_ERROR_FAILED 6u
#define EF_ERROR_OPCODE 7u

#define EF_OP_LED 1u
#define EF_OP_REBOOT 2u
#define EF_OP_MSC 3u
#define EF_OP_BENCHMARK 4u
#define EF_OP_SAVE 5u
#define EF_OP_STAGE_SSID 6u
#define EF_OP_STAGE_PASSWORD 7u
#define EF_OP_STAGE_KEY 8u
#define EF_OP_TEST_WIFI 9u
#define EF_OP_CANCEL_TEST 10u
#define EF_OP_SCAN 11u
#define EF_OP_SCAN_ENTRY 12u
#define EF_OP_TCP_PROOF 13u

#define EF_DETAIL_CONFLICT 1u
#define EF_DETAIL_SCAN_STALE 22u
#define EF_DETAIL_SCAN_INDEX 23u
#define EF_DETAIL_TEST_ACTIVE 25u
#define EF_DETAIL_SCAN_ACTIVE 26u
#define EF_DETAIL_COMMIT_FLAG 27u
#define EF_DETAIL_USB_STAGED 28u

void ef_control_init(void);

/** Handle a USB Feature 20 SET payload (report ID removed). Returns false for a rejected envelope. */
bool ef_control_usb_set(const uint8_t *payload, size_t size, int64_t now_ms);
void ef_control_usb_get(uint8_t out[EF_CONTROL_SIZE]);

/** True when a 9-byte BLE request has a valid envelope (length, version, nonzero transaction ID). */
bool ef_control_ble_envelope(const uint8_t *request, size_t size);

/** Execute an authorized BLE request with a valid envelope; replaces the BLE result slot. */
void ef_control_ble_execute(const uint8_t request[EF_BLE_CONTROL_SIZE], int64_t now_ms);
void ef_control_ble_get(uint8_t out[EF_BLE_CONTROL_SIZE]);

/** Expire staged values; cancels a candidate test when they expire. */
void ef_control_tick(int64_t now_ms);

/** The current candidate test joined successfully. */
void ef_control_test_joined(int64_t now_ms);

/** Feature 12 staging flags (bits 4-7) and staged_state. */
void ef_control_stage_status(uint8_t *flags, uint8_t *staged_state);

#endif
```

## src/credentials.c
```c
#include "credentials.h"

#include <errno.h>
#include <string.h>

static int hex_digit(char digit)
{
	if (digit >= '0' && digit <= '9') {
		return digit - '0';
	}
	if (digit >= 'a' && digit <= 'f') {
		return digit - 'a' + 10;
	}
	if (digit >= 'A' && digit <= 'F') {
		return digit - 'A' + 10;
	}
	return -1;
}

int credential_decode(const char *hex, char *output, size_t capacity)
{
	if (!hex || !output || capacity == 0) {
		return -EINVAL;
	}
	size_t length = strlen(hex);
	size_t bytes = length / 2;

	if (length % 2 || bytes >= capacity) {
		return -EINVAL;
	}
	for (size_t i = 0; i < bytes; ++i) {
		int high = hex_digit(hex[i * 2]);
		int low = hex_digit(hex[i * 2 + 1]);

		if (high < 0 || low < 0 || (high == 0 && low == 0)) {
			return -EINVAL;
		}
		output[i] = (char)((high << 4) | low);
	}
	output[bytes] = '\0';
	return 0;
}

int credentials_validate(const char *ssid, const char *psk)
{
	if (!ssid || !psk) {
		return -EINVAL;
	}
	size_t ssid_len = strlen(ssid);
	size_t psk_len = strlen(psk);

	return ssid_len == 0 || ssid_len > 32 ||
	       (psk_len != 0 && (psk_len < 8 || psk_len > 63)) ? -EINVAL : 0;
}
```

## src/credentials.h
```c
#ifndef ESPFORGE_CREDENTIALS_H
#define ESPFORGE_CREDENTIALS_H

#include <stddef.h>

int credential_decode(const char *hex, char *output, size_t capacity);
int credentials_validate(const char *ssid, const char *psk);

#endif
```

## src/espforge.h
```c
/**
 * @file espforge.h
 * @brief Zephyr-side services shared by the USB HID, Bluetooth LE, Wi-Fi, storage and telemetry glue.
 */
#ifndef ESPFORGE_H
#define ESPFORGE_H

#include <stdbool.h>
#include <stdint.h>

#include "hid_reports.h"

#ifndef ESPFORGE_VERSION
#define ESPFORGE_VERSION "0.1.0"
#endif

/** Grace period between an accepted reboot or save result and the reset. */
#define EF_REBOOT_DELAY_MS 1000

/** Report 12 ble_state values. */
#define EF_BLE_OFF 0u
#define EF_BLE_ADVERTISING 1u
#define EF_BLE_CONNECTED 2u

/** One recursive lock serializes the control dispatcher, staging and wireless state across threads. */
void ef_lock(void);
void ef_unlock(void);

/** Board identity; valid after ef_board_init(). */
void ef_board_init(void);
const uint8_t *ef_board_uid(void);
const char *ef_board_serial(void);

void ef_identity_report(uint8_t out[EF_IDENTITY_SIZE]);
void ef_config_report(uint8_t out[EF_CONFIG_SIZE]);
void ef_telemetry_report(uint8_t sequence, uint8_t out[EF_TELEMETRY_SIZE]);
void ef_storage_report(uint8_t sequence, uint8_t out[EF_STORAGE_SIZE]);
void ef_wireless_report(uint8_t out[EF_WIRELESS_SIZE]);

int system_clock_apply(uint16_t mhz);
uint32_t system_clock_hz(void);

void ef_telemetry_init(void);
/** Refresh the cached temperature and load window; call from the main loop. */
void ef_telemetry_poll(void);

void ef_storage_init(void);

void ef_wifi_init(bool enabled);
/** Advance connects, tests and scans; call from the main loop. */
void ef_wifi_poll(void);

/** Start Bluetooth when the saved switch is on and a Control key is saved. */
void ef_ble_init(bool enabled);
uint8_t ef_ble_state(void);
bool ef_ble_failed(void);

int ef_usb_init(void);
bool ef_usb_configured(void);
/** Publish due Input reports; call from the main loop. */
void ef_usb_poll(void);

#endif
```

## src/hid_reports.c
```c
#include "hid_reports.h"
#include "boot_config.h"

#include <string.h>

/* Zephyr hwinfo reset-cause bits (include/zephyr/drivers/hwinfo.h). */
#define HWINFO_RESET_SOFTWARE 0x02u
#define HWINFO_RESET_POR 0x08u
#define HWINFO_RESET_WATCHDOG 0x10u

/* DevKitC monitor UART0 and SPI2 SD-card pins; see docs/guides/hardware.md. */
#define MONITOR_UART_INDEX 0u
#define MONITOR_UART_TX 43u
#define MONITOR_UART_RX 44u
static const uint8_t storage_gpios[6] = {12u, 11u, 13u, 10u, EF_GPIO_UNASSIGNED, EF_GPIO_UNASSIGNED};

#define CONFIG_FLAG_MONITOR_UART 0x04u
#define CONFIG_FLAG_WIFI 0x08u
#define CONFIG_FLAG_BLE 0x10u

static void put16(uint8_t *out, uint16_t value)
{
	out[0] = (uint8_t)value;
	out[1] = (uint8_t)(value >> 8);
}

static void put32(uint8_t *out, uint32_t value)
{
	put16(out, (uint16_t)value);
	put16(out + 2, (uint16_t)(value >> 16));
}

void ef_report_identity(const ef_identity_t *identity, uint8_t out[EF_IDENTITY_SIZE])
{
	memset(out, 0, EF_IDENTITY_SIZE);
	out[0] = 1;
	put16(out + 1, EF_PRODUCT_ID);
	memcpy(out + 3, identity->uid, EF_UID_SIZE);
	memcpy(out + 11, identity->firmware, 3);
	out[14] = EF_MCU_ESP32S3;
	out[15] = EF_BOARD_DEVKITC;
	out[16] = 0;
	out[17] = EF_CAPABILITIES;
	put32(out + 18, identity->ram_total_bytes);
	put32(out + 22, identity->ram_reserved_bytes);
}

void ef_report_config(const ef_config_t *config, uint8_t out[EF_CONFIG_SIZE])
{
	uint8_t flags = CONFIG_FLAG_MONITOR_UART;

	if (config->stored_radios & EF_WIRELESS_WIFI) {
		flags |= CONFIG_FLAG_WIFI;
	}
	if (config->stored_radios & EF_WIRELESS_BLE) {
		flags |= CONFIG_FLAG_BLE;
	}
	memset(out, 0, EF_CONFIG_SIZE);
	out[0] = 1;
	put16(out + 1, config->stored_clock_mhz);
	out[3] = 0;
	out[4] = MONITOR_UART_INDEX;
	out[5] = MONITOR_UART_TX;
	out[6] = MONITOR_UART_RX;
	memcpy(out + 7, storage_gpios, sizeof(storage_gpios));
	out[13] = flags;
	out[14] = config->reset_cause;
	out[15] = EF_GPIO_UNASSIGNED;
	out[16] = EF_GPIO_UNASSIGNED;
}

void ef_report_telemetry(const ef_telemetry_t *telemetry, uint8_t out[EF_TELEMETRY_SIZE])
{
	memset(out, 0, EF_TELEMETRY_SIZE);
	out[0] = 1;
	out[1] = 0;
	if (telemetry->temperature_valid) {
		put16(out + 2, (uint16_t)telemetry->temperature_centi_c);
	}
	put32(out + 4, (uint32_t)telemetry->uptime_ms);
	put32(out + 8, (uint32_t)(telemetry->uptime_ms >> 32));
	put16(out + 12, telemetry->core0_load);
	put16(out + 14, EF_LOAD_UNAVAILABLE);
	put32(out + 16, telemetry->system_clock_hz);
	out[20] = telemetry->sequence;
	out[21] = (uint8_t)((telemetry->usb_configured ? 0x01u : 0) | (telemetry->temperature_valid ? 0x04u : 0));
}

void ef_report_storage(const ef_storage_t *storage, uint8_t out[EF_STORAGE_SIZE])
{
	/* Storage is configured and every published sample is valid; no card-detect input exists. */
	uint8_t sd_flags = 0x01u | 0x40u;

	memset(out, 0, EF_STORAGE_SIZE);
	out[0] = 1;
	out[1] = storage->sequence;
	if (storage->initialized) {
		sd_flags |= 0x02u | 0x04u | 0x08u;
		if (storage->capacity_valid) {
			sd_flags |= 0x20u;
			put32(out + 10, storage->block_count);
		}
		out[3] = 1;
		out[4] = 2;
		put32(out + 5, storage->bus_clock_hz);
		out[9] = 1;
	}
	out[2] = sd_flags;
	out[30] = storage->filesystem_format <= 4 ? storage->filesystem_format : 0;
}

void ef_report_wireless(const ef_wireless_t *wireless, uint8_t out[EF_WIRELESS_SIZE])
{
	uint8_t length = wireless->ssid_length <= EF_SSID_MAX ? wireless->ssid_length : EF_SSID_MAX;

	memset(out, 0, EF_WIRELESS_SIZE);
	out[0] = 1;
	out[1] = wireless->wifi_state;
	out[2] = wireless->detail;
	out[3] = wireless->ble_state;
	out[4] = (uint8_t)(wireless->flags & ~0x0Cu);
	memcpy(out + 5, wireless->ipv4, 4);
	out[9] = length;
	memcpy(out + 10, wireless->ssid, length);
	out[42] = wireless->scan_state;
	put16(out + 43, wireless->scan_generation);
	out[45] = wireless->scan_count;
	out[46] = wireless->test_generation;
	out[47] = wireless->staged_state;
}

void ef_uid_hex(const uint8_t uid[EF_UID_SIZE], char out[2 * EF_UID_SIZE + 1])
{
	static const char digits[] = "0123456789ABCDEF";

	for (unsigned i = 0; i < EF_UID_SIZE; ++i) {
		out[2 * i] = digits[uid[i] >> 4];
		out[2 * i + 1] = digits[uid[i] & 0x0Fu];
	}
	out[2 * EF_UID_SIZE] = '\0';
}

uint8_t ef_reset_cause(uint32_t hwinfo_cause)
{
	if (hwinfo_cause & HWINFO_RESET_POR) {
		return 1;
	}
	if (hwinfo_cause & HWINFO_RESET_WATCHDOG) {
		return 2;
	}
	if (hwinfo_cause & HWINFO_RESET_SOFTWARE) {
		return 3;
	}
	return 0;
}

uint16_t ef_load_basis_points(uint64_t busy_cycles, uint64_t total_cycles)
{
	if (total_cycles == 0) {
		return EF_LOAD_UNAVAILABLE;
	}
	if (busy_cycles >= total_cycles) {
		return 10000u;
	}
	return (uint16_t)((busy_cycles * 10000u) / total_cycles);
}
```
